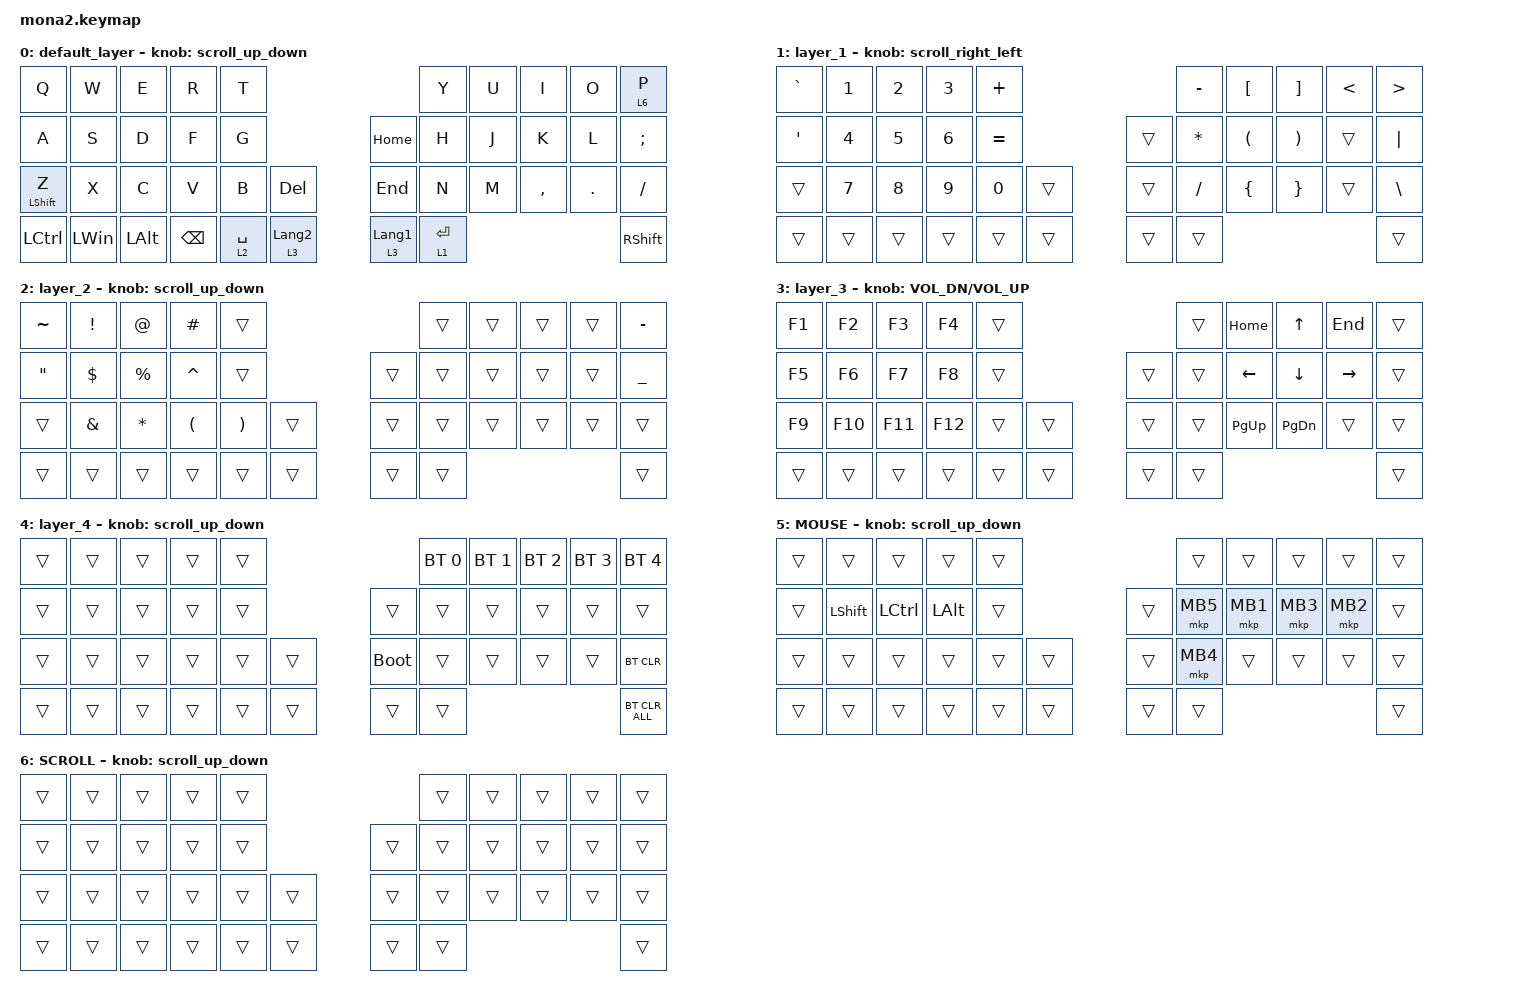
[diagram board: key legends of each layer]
#include <input/processors.dtsi>
#include <dt-bindings/zmk/input_transform.h>
#include <zephyr/dt-bindings/input/input-event-codes.h>
#include <behaviors.dtsi>
#include <dt-bindings/zmk/bt.h>
#include <dt-bindings/zmk/keys.h>
#include <dt-bindings/zmk/pointing.h>

#define ZMK_POINTING_DEFAULT_SCRL_VAL 100
#define MOUSE 5
#define SCROLL 6

&mkp_input_listener { input-processors = <&zip_temp_layer 5 5000>; };

&mt {
    flavor = "balanced";
    quick-tap-ms = <0>;
};

&lt {
    quick-tap-ms = <300>;
    flavor = "balanced";
};

/ {
    combos {
        compatible = "zmk,combos";

        layer4_ESC {
            bindings = <&lt 4 ESC>;
            key-positions = <39 38>;
        };

        tab {
            bindings = <&kp TAB>;
            key-positions = <11 12>;
        };
    };

    macros {
        to_layer_0: to_layer_0 {
            compatible = "zmk,behavior-macro-one-param";
            #binding-cells = <1>;
            bindings = <&to 0 &macro_param_1to1 &kp MACRO_PLACEHOLDER>;
            label = "TO_LAYER_0";
        };
    };

    behaviors {
        lt_to_layer_0: lt_to_layer_0 {
            compatible = "zmk,behavior-hold-tap";
            label = "LAYER_TAP_TO_0";
            bindings = <&mo>, <&to_layer_0>;

            #binding-cells = <2>;
            tapping-term-ms = <200>;
        };

        scroll_up_down: mouse_wheel_up_down {
            compatible = "zmk,behavior-sensor-rotate";
            #sensor-binding-cells = <0>;
            bindings = <&msc SCRL_DOWN>, <&msc SCRL_UP>;

            tap-ms = <20>;
        };

        scroll_right_left: mouse_wheel_right_left {
            compatible = "zmk,behavior-sensor-rotate";
            #sensor-binding-cells = <0>;
            bindings = <&msc SCRL_LEFT>, <&msc SCRL_RIGHT>;

            tap-ms = <20>;
        };
    };

    keymap {
        compatible = "zmk,keymap";

        default_layer {
            bindings = <
&kp Q             &kp W         &kp E         &kp R          &kp T                                                                    &kp Y        &kp U  &kp I      &kp O    &lt 6 P
&kp A             &kp S         &kp D         &kp F          &kp G                                       &kp HOME                     &kp H        &kp J  &kp K      &kp L    &kp SEMICOLON
&mt LEFT_SHIFT Z  &kp X         &kp C         &kp V          &kp B        &kp DELETE                     &kp END                      &kp N        &kp M  &kp COMMA  &kp DOT  &kp SLASH
&kp LCTRL         &kp LEFT_WIN  &kp LEFT_ALT  &kp BACKSPACE  &lt 2 SPACE  &lt_to_layer_0 3 LANGUAGE_2    &lt_to_layer_0 3 LANGUAGE_1  &lt 1 ENTER                             &kp RIGHT_SHIFT
            >;

            sensor-bindings = <&scroll_up_down>;
        };

        layer_1 {
            bindings = <
&kp GRAVE  &kp NUMBER_1  &kp NUMBER_2  &kp NUMBER_3  &kp PLUS                        &kp MINUS     &kp LEFT_BRACKET      &kp RIGHT_BRACKET      &kp LESS_THAN  &kp GREATER_THAN
&kp SQT    &kp NUMBER_4  &kp NUMBER_5  &kp NUMBER_6  &kp EQUAL               &trans  &kp ASTERISK  &kp LEFT_PARENTHESIS  &kp RIGHT_PARENTHESIS  &trans         &kp PIPE
&trans     &kp NUMBER_7  &kp NUMBER_8  &kp NUMBER_9  &kp NUMBER_0  &trans    &trans  &kp SLASH     &kp LEFT_BRACE        &kp RIGHT_BRACE        &trans         &kp BACKSLASH
&trans     &trans        &trans        &trans        &trans        &trans    &trans  &trans                                                                    &trans
            >;

            sensor-bindings = <&scroll_right_left>;
        };

        layer_2 {
            bindings = <
&kp TILDE          &kp EXCLAMATION  &kp AT_SIGN   &kp HASH              &trans                                   &trans  &trans  &trans  &trans  &kp MINUS
&kp DOUBLE_QUOTES  &kp DOLLAR       &kp PERCENT   &kp CARET             &trans                           &trans  &trans  &trans  &trans  &trans  &kp UNDERSCORE
&trans             &kp AMPERSAND    &kp ASTERISK  &kp LEFT_PARENTHESIS  &kp RIGHT_PARENTHESIS  &trans    &trans  &trans  &trans  &trans  &trans  &trans
&trans             &trans           &trans        &trans                &trans                 &trans    &trans  &trans                          &trans
            >;

            sensor-bindings = <&scroll_up_down>;
        };

        layer_3 {
            bindings = <
&kp F1  &kp F2   &kp F3   &kp F4   &trans                    &trans  &kp HOME        &kp UP_ARROW    &kp END          &trans
&kp F5  &kp F6   &kp F7   &kp F8   &trans            &trans  &trans  &kp LEFT_ARROW  &kp DOWN_ARROW  &kp RIGHT_ARROW  &trans
&kp F9  &kp F10  &kp F11  &kp F12  &trans  &trans    &trans  &trans  &kp PAGE_UP     &kp PAGE_DOWN   &trans           &trans
&trans  &trans   &trans   &trans   &trans  &trans    &trans  &trans                                                   &trans
            >;

            sensor-bindings = <&inc_dec_kp C_VOL_DN C_VOL_UP>;
        };

        layer_4 {
            bindings = <
&trans  &trans  &trans  &trans  &trans                         &bt BT_SEL 0  &bt BT_SEL 1  &bt BT_SEL 2  &bt BT_SEL 3  &bt BT_SEL 4
&trans  &trans  &trans  &trans  &trans            &trans       &trans        &trans        &trans        &trans        &trans
&trans  &trans  &trans  &trans  &trans  &trans    &bootloader  &trans        &trans        &trans        &trans        &bt BT_CLR
&trans  &trans  &trans  &trans  &trans  &trans    &trans       &trans                                                  &bt BT_CLR_ALL
            >;

            sensor-bindings = <&scroll_up_down>;
        };

        MOUSE {
            bindings = <
&trans  &trans          &trans     &trans        &trans                    &trans    &trans    &trans    &trans    &trans
&trans  &kp LEFT_SHIFT  &kp LCTRL  &kp LEFT_ALT  &trans            &trans  &mkp MB5  &mkp MB1  &mkp MB3  &mkp MB2  &trans
&trans  &trans          &trans     &trans        &trans  &trans    &trans  &mkp MB4  &trans    &trans    &trans    &trans
&trans  &trans          &trans     &trans        &trans  &trans    &trans  &trans                                  &trans
            >;

            sensor-bindings = <&scroll_up_down>;
        };

        SCROLL {
            bindings = <
&trans  &trans  &trans  &trans  &trans                    &trans  &trans  &trans  &trans  &trans
&trans  &trans  &trans  &trans  &trans            &trans  &trans  &trans  &trans  &trans  &trans
&trans  &trans  &trans  &trans  &trans  &trans    &trans  &trans  &trans  &trans  &trans  &trans
&trans  &trans  &trans  &trans  &trans  &trans    &trans  &trans                          &trans
            >;

            sensor-bindings = <&scroll_up_down>;
        };
    };
};
